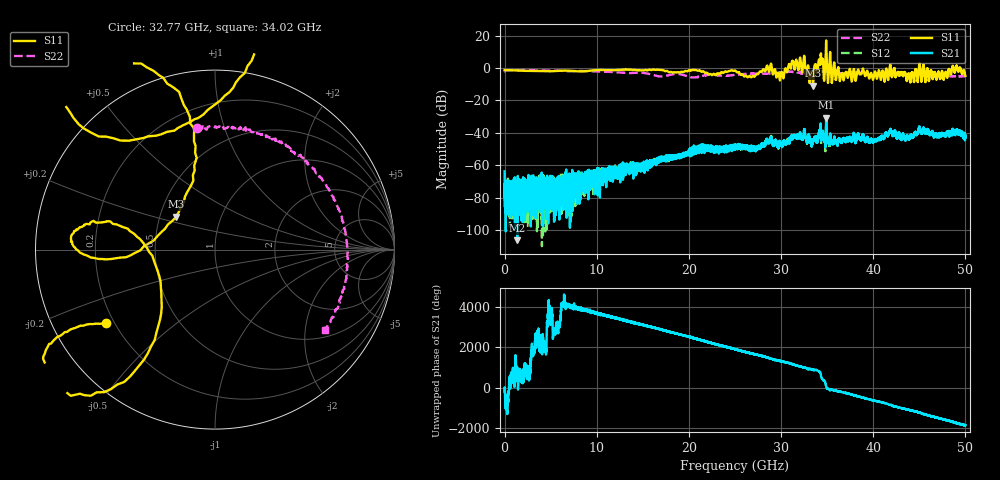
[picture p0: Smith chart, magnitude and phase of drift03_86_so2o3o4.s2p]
!Created with skrf (http://scikit-rf.org).
# Hz S RI R 50.0
!freq ReS11 ImS11 ReS21 ImS21 ReS12 ImS12 ReS22 ImS22
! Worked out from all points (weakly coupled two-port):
!   10001 points, 300 kHz to 50 GHz, reference 50 ohm
!   highest |S21| = -30.67 dB at 34.9 GHz (marker M1); lowest = -106.3 dB at 1.37 GHz (marker M2)
!   lowest |S11| = -10.9 dB at 33.47 GHz (marker M3), VSWR 1.79, Z = 30.4 + j12.1 ohm
!   |S11| at or under -10 dB: 33.44959 GHz to 33.48503 GHz (35.44 MHz wide, 0.106 % of centre)
!   |S22| runs from -5.9 to -1.3 dB; largest |S21 - S12| = 0.0083
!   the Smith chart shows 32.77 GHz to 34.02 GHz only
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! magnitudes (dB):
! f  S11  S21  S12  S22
! 300 kHz  -1.3  -63.9  -76.5  -2.0
! 260.3 MHz  -1.3  -70.8  -74.3  -1.4
! 1.37 GHz  -1.6  -106.3  -77.1  -1.4
! 8.335 GHz  -2.2  -69.7  -74.4  -1.9
! 16.67 GHz  -1.1  -56.4  -56.2  -5.1
! 25 GHz  -1.5  -49.7  -47.7  -4.3
! 26.92 GHz  -4.9  -49.0  -48.9  -3.5
! 28.73 GHz  -2.2  -45.6  -45.1  -3.5
! 30.06 GHz  -2.5  -47.5  -47.7  -2.8
! 31.87 GHz  -1.4  -41.6  -41.4  -2.9
! 33.34 GHz  -2.1  -48.3  -46.6  -2.9
! 33.47 GHz  -10.9  -45.2  -45.0  -2.8
! 34.3 GHz  7.8  -34.3  -35.1  -2.3
! 34.9 GHz  15.6  -30.7  -32.2  -2.4
! 36.59 GHz  -3.4  -45.4  -46.0  -3.6
! 40.18 GHz  -2.4  -44.4  -44.0  -3.7
! 41.67 GHz  -5.5  -40.5  -40.4  -3.6
! 43.84 GHz  -3.6  -43.4  -43.7  -3.9
! 45.18 GHz  -5.1  -38.8  -38.7  -4.5
! 47.83 GHz  -2.5  -41.4  -41.4  -4.8
! 48.85 GHz  -2.6  -40.1  -39.9  -5.1
! 50 GHz  -4.9  -43.1  -42.4  -4.9
